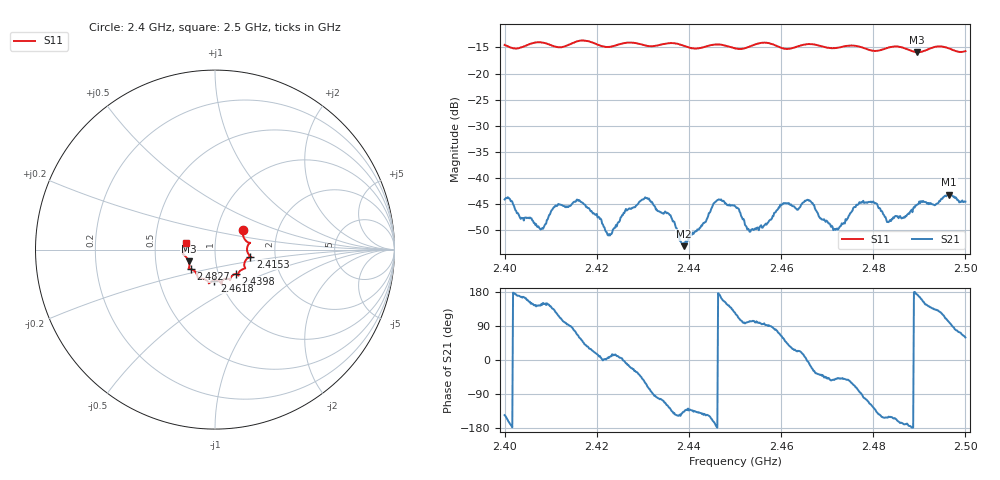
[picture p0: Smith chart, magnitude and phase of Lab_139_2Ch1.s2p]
# Hz S RI R 50
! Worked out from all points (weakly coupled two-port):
!   601 points, 2.4 GHz to 2.5 GHz, reference 50 ohm
!   highest |S21| = -43.20 dB at 2.4965 GHz (marker M1); lowest = -53.1 dB at 2.4388 GHz (marker M2)
!   lowest |S11| = -15.9 dB at 2.4895 GHz (marker M3), VSWR 1.38, Z = 37 - j5.01 ohm
!   |S11| at or under -10 dB: start of sweep to end of sweep
!   S12 and S22 are empty: the file has one direction only
!   S11 on the Smith chart (normalised r, x): 2.4 GHz: 1.33, +0.29; 2.4153 GHz: 1.48, -0.12; 2.4398 GHz: 1.21, -0.34; 2.4618 GHz: 0.94, -0.33; 2.4827 GHz: 0.75, -0.17; 2.5 GHz: 0.72, +0.06
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2.4e9  0.1551 0.1066  -0.00511 -0.00351  0 0  0 0
2.408e9  0.1954 0.0379  -0.00276 0.00171  0 0  0 0
2.411167e9  0.1797 0.0125  -0.00312 0.00441  0 0  0 0
2.415333e9  0.1968 -0.0391  0.00149 0.00568  0 0  0 0
2.416667e9  0.2027 -0.0432  0.00353 0.00466  0 0  0 0
2.422667e9  0.1646 -0.0725  0.00287 0.000303  0 0  0 0
2.430167e9  0.1514 -0.1112  0.00373 -0.00498  0 0  0 0
2.433333e9  0.1298 -0.1343  -0.000908 -0.0047  0 0  0 0
2.438833e9  0.1235 -0.1373  -0.00161 -0.00152  0 0  0 0
2.439833e9  0.1152 -0.136  -0.00157 -0.002  0 0  0 0
2.446e9  0.084 -0.1704  -0.00599 -0.000407  0 0  0 0
2.45e9  0.0652 -0.1618  -0.00307 0.00439  0 0  0 0
2.453667e9  0.0364 -0.1816  -0.000676 0.00313  0 0  0 0
2.461833e9  -0.0033 -0.1729  0.00443 0.00333  0 0  0 0
2.466667e9  -0.0345 -0.188  0.00535 -0.00211  0 0  0 0
2.471833e9  -0.0683 -0.1617  0.00201 -0.00246  0 0  0 0
2.477333e9  -0.0973 -0.1507  0.000236 -0.00581  0 0  0 0
2.482667e9  -0.1353 -0.1089  -0.00369 -0.00199  0 0  0 0
2.483333e9  -0.1404 -0.1085  -0.00324 -0.00191  0 0  0 0
2.4895e9  -0.146 -0.066  -0.00548 0.000649  0 0  0 0
2.4965e9  -0.1733 -0.0119  -0.00116 0.00682  0 0  0 0
2.5e9  -0.1591 0.0387  0.00301 0.00509  0 0  0 0
